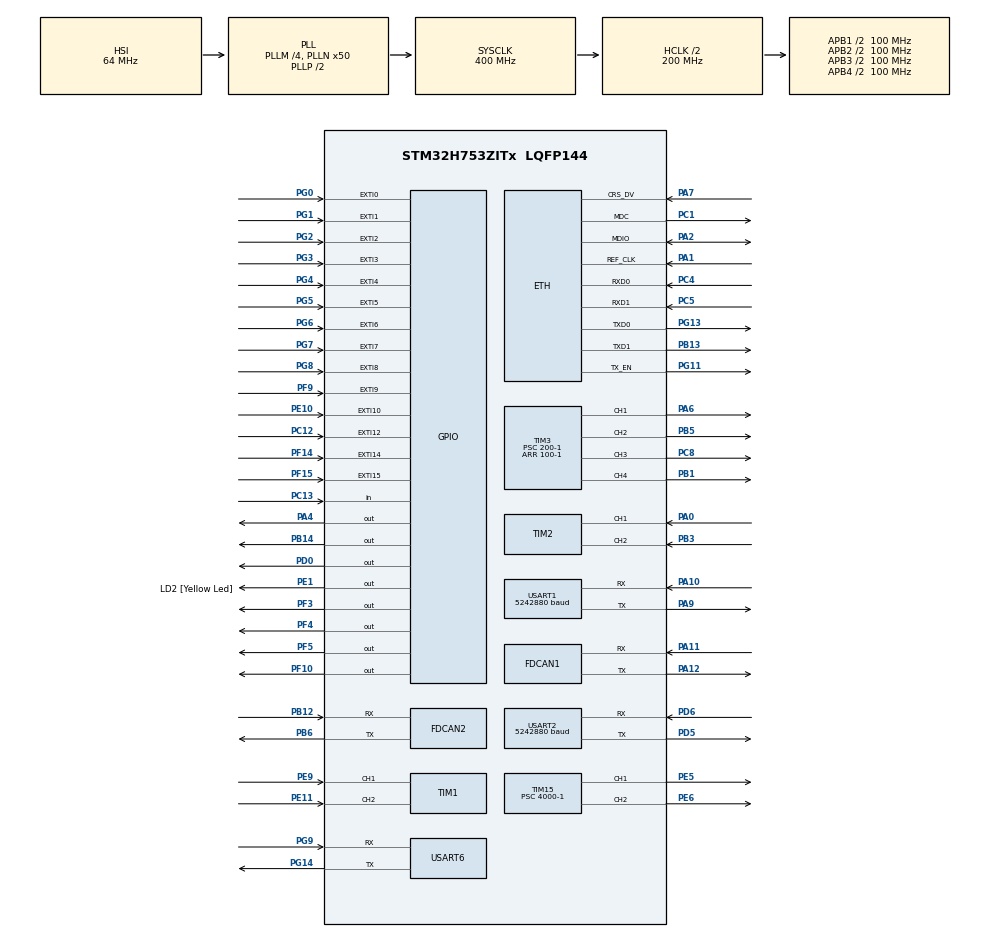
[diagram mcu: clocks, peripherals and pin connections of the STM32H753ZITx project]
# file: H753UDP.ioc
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CORTEX_M7.AccessPermission_S-Cortex_Memory_Protection_Unit_Region1_Settings_S=MPU_REGION_FULL_ACCESS
CORTEX_M7.AccessPermission_S-Cortex_Memory_Protection_Unit_Region2_Settings_S=MPU_REGION_FULL_ACCESS
CORTEX_M7.BaseAddress_S-Cortex_Memory_Protection_Unit_Region1_Settings_S=0x30020000
CORTEX_M7.BaseAddress_S-Cortex_Memory_Protection_Unit_Region2_Settings_S=0x30040000
CORTEX_M7.CPU_DCache=Enabled
CORTEX_M7.CPU_ICache=Enabled
CORTEX_M7.DisableExec_S-Cortex_Memory_Protection_Unit_Region1_Settings_S=MPU_INSTRUCTION_ACCESS_DISABLE
CORTEX_M7.DisableExec_S-Cortex_Memory_Protection_Unit_Region2_Settings_S=MPU_INSTRUCTION_ACCESS_DISABLE
CORTEX_M7.Enable_S-Cortex_Memory_Protection_Unit_Region1_Settings_S=MPU_REGION_ENABLE
CORTEX_M7.Enable_S-Cortex_Memory_Protection_Unit_Region2_Settings_S=MPU_REGION_ENABLE
CORTEX_M7.IsBufferable_S-Cortex_Memory_Protection_Unit_Region2_Settings_S=MPU_ACCESS_BUFFERABLE
CORTEX_M7.IsShareable_S-Cortex_Memory_Protection_Unit_Region2_Settings_S=MPU_ACCESS_SHAREABLE
CORTEX_M7.MPU_Control=MPU_PRIVILEGED_DEFAULT
CORTEX_M7.Size_S-Cortex_Memory_Protection_Unit_Region1_Settings_S=MPU_REGION_SIZE_128KB
CORTEX_M7.Size_S-Cortex_Memory_Protection_Unit_Region2_Settings_S=MPU_REGION_SIZE_512B
CORTEX_M7.TypeExtField_S-Cortex_Memory_Protection_Unit_Region1_Settings_S=MPU_TEX_LEVEL1
CORTEX_M7.default_mode_Activation=1
ETH.MediaInterface=HAL_ETH_RMII_MODE
FDCAN1.CalculateBaudRateNominal=1000000
FDCAN1.CalculateTimeBitNominal=1000
FDCAN1.CalculateTimeQuantumNominal=62.5
FDCAN1.NominalPrescaler=5
FDCAN1.NominalTimeSeg1=13
FDCAN1.NominalTimeSeg2=2
FDCAN1.RxFifo0ElmtsNbr=3
FDCAN1.TxFifoQueueElmtsNbr=3
FDCAN2.CalculateBaudRateNominal=1666666
FDCAN2.CalculateTimeBitNominal=600
FDCAN2.CalculateTimeQuantumNominal=200.0
FREERTOS.Tasks01=defaultTask,0,512,StartDefaultTask,Default,NULL,Dynamic,NULL,NULL
FREERTOS.configUSE_NEWLIB_REENTRANT=1
LWIP.BSP.number=1
LWIP.DEFAULT_THREAD_STACKSIZE=2048
LWIP.GATEWAY_ADDRESS=192.168.011.001
LWIP.IP_ADDRESS=192.168.011.004
LWIP.LWIP_DHCP=0
LWIP.LWIP_RAM_HEAP_POINTER=0x30020000
LWIP.MEM_SIZE=131048
LWIP.NETMASK_ADDRESS=255.255.255.000
LWIP.TCPIP_THREAD_STACKSIZE=2048
LWIP.Version=v2.1.2_Cube
LWIP0.BSP.STBoard=false
LWIP0.BSP.api=BSP_COMPONENT_DRIVER
LWIP0.BSP.component=LAN8742
LWIP0.BSP.instance=LAN8742
LWIP0.BSP.name=Driver_PHY
LWIP0.BSP.semaphore=S_LAN8742
LWIP0.BSP.solution=LAN8742
Mcu.Family=STM32H7
Mcu.Name=STM32H753ZITx
Mcu.Package=LQFP144
NUCLEO-H753ZI.BUTTON=1
NUCLEO-H753ZI.LD1=true
NUCLEO-H753ZI.LD2=true
NUCLEO-H753ZI.LD3=true
NUCLEO-H753ZI.VCP=true
NVIC.ETH_IRQn=true\:5\:0\:true\:false\:true\:true\:true\:true\:true
NVIC.ETH_WKUP_IRQn=true\:5\:0\:true\:false\:true\:true\:true\:true\:true
NVIC.EXTI15_10_IRQn=true\:5\:0\:false\:false\:true\:true\:false\:true\:true
NVIC.FDCAN1_IT0_IRQn=true\:5\:0\:false\:false\:true\:true\:true\:true\:true
NVIC.FDCAN1_IT1_IRQn=true\:5\:0\:false\:false\:true\:true\:true\:true\:true
NVIC.PriorityGroup=NVIC_PRIORITYGROUP_4
NVIC.TIM6_DAC_IRQn=true\:15\:0\:false\:false\:true\:false\:false\:true\:true
NVIC.TimeBase=TIM6_DAC_IRQn
NVIC.TimeBaseIP=TIM6
NVIC.USART1_IRQn=true\:5\:0\:false\:false\:true\:true\:true\:true\:true
NVIC.USART2_IRQn=true\:5\:0\:false\:false\:true\:true\:true\:true\:true
PA0.Signal=S_TIM2_CH1_ETR
PA1.GPIO_Speed=GPIO_SPEED_FREQ_VERY_HIGH
PA1.Mode=RMII
PA1.Signal=ETH_REF_CLK
PA10.Mode=Asynchronous
PA10.Signal=USART1_RX
PA11.Mode=FDCAN_Activate
PA11.Signal=FDCAN1_RX
PA12.Mode=FDCAN_Activate
PA12.Signal=FDCAN1_TX
PA2.GPIO_Speed=GPIO_SPEED_FREQ_VERY_HIGH
PA2.Mode=RMII
PA2.Signal=ETH_MDIO
PA4.Signal=GPIO_Output
PA6.Signal=S_TIM3_CH1
PA7.GPIO_Speed=GPIO_SPEED_FREQ_VERY_HIGH
PA7.Mode=RMII
PA7.Signal=ETH_CRS_DV
PA9.Mode=Asynchronous
PA9.Signal=USART1_TX
PB1.Signal=S_TIM3_CH4
PB12.Mode=FDCAN_Activate
PB12.Signal=FDCAN2_RX
PB13.GPIO_Speed=GPIO_SPEED_FREQ_VERY_HIGH
PB13.Mode=RMII
PB13.Signal=ETH_TXD1
PB14.Signal=GPIO_Output
PB3\ (JTDO/TRACESWO).Signal=S_TIM2_CH2
PB5.Signal=S_TIM3_CH2
PB6.Mode=FDCAN_Activate
PB6.Signal=FDCAN2_TX
PC1.GPIO_Speed=GPIO_SPEED_FREQ_VERY_HIGH
PC1.Mode=RMII
PC1.Signal=ETH_MDC
PC12.Signal=GPXTI12
PC13.Signal=GPIO_Input
PC14-OSC32_IN\ (OSC32_IN).Mode=LSE-External-Oscillator
PC14-OSC32_IN\ (OSC32_IN).Signal=RCC_OSC32_IN
PC15-OSC32_OUT\ (OSC32_OUT).Mode=LSE-External-Oscillator
PC15-OSC32_OUT\ (OSC32_OUT).Signal=RCC_OSC32_OUT
PC4.GPIO_Speed=GPIO_SPEED_FREQ_VERY_HIGH
PC4.Mode=RMII
PC4.Signal=ETH_RXD0
PC5.GPIO_Speed=GPIO_SPEED_FREQ_VERY_HIGH
PC5.Mode=RMII
PC5.Signal=ETH_RXD1
PC8.Signal=S_TIM3_CH3
PD0.Signal=GPIO_Output
PD5.Mode=Asynchronous
PD5.Signal=USART2_TX
PD6.Mode=Asynchronous
PD6.Signal=USART2_RX
PD8.Signal=USART3_TX
PD9.Signal=USART3_RX
PE1.GPIO_Label=LD2 [Yellow Led]
PE1.Signal=GPIO_Output
PE10.Signal=GPXTI10
PE11.Signal=S_TIM1_CH2
PE5.Signal=S_TIM15_CH1
PE6.Signal=S_TIM15_CH2
PE9.Signal=S_TIM1_CH1
PF10.Signal=GPIO_Output
PF14.Signal=GPXTI14
PF15.Signal=GPXTI15
PF3.Signal=GPIO_Output
PF4.Signal=GPIO_Output
PF5.Signal=GPIO_Output
PF9.Signal=GPXTI9
PG0.Signal=GPXTI0
PG1.Signal=GPXTI1
PG11.GPIO_Speed=GPIO_SPEED_FREQ_VERY_HIGH
PG11.Mode=RMII
PG11.Signal=ETH_TX_EN
PG13.GPIO_Speed=GPIO_SPEED_FREQ_VERY_HIGH
PG13.Mode=RMII
PG13.Signal=ETH_TXD0
PG14.Mode=Asynchronous
PG14.Signal=USART6_TX
PG2.Signal=GPXTI2
PG3.Signal=GPXTI3
PG4.Signal=GPXTI4
PG5.Signal=GPXTI5
PG6.Signal=GPXTI6
PG7.Signal=GPXTI7
PG8.Signal=GPXTI8
PG9.Mode=Asynchronous
PG9.Signal=USART6_RX
PH0-OSC_IN\ (PH0).Mode=HSE-External-Clock-Source
PH0-OSC_IN\ (PH0).Signal=RCC_OSC_IN
PH1-OSC_OUT\ (PH1).Signal=RCC_OSC_OUT
ProjectManager.HeapSize=0x200
ProjectManager.StackSize=0x400
ProjectManager.TargetToolchain=CMake
RCC.ADCFreq_Value=129000000
RCC.APB1Freq_Value=100000000
RCC.APB2Freq_Value=100000000
RCC.APB3Freq_Value=100000000
RCC.APB4Freq_Value=100000000
RCC.CortexFreq_Value=400000000
RCC.D1PPRE=RCC_APB3_DIV2
RCC.D2PPRE1=RCC_APB1_DIV2
RCC.D2PPRE2=RCC_APB2_DIV2
RCC.D3PPRE=RCC_APB4_DIV2
RCC.DIVM1=4
RCC.DIVN1=50
RCC.DIVQ1=10
RCC.HCLKFreq_Value=200000000
RCC.HPRE=RCC_HCLK_DIV2
RCC.HSE_VALUE=8000000
RCC.SYSCLKFreq_VALUE=400000000
RCC.SYSCLKSource=RCC_SYSCLKSOURCE_PLLCLK
RCC.USBFreq_Value=80000000
SH.S_TIM15_CH1.0=TIM15_CH1,PWM Generation1 CH1
SH.S_TIM15_CH2.0=TIM15_CH2,PWM Generation2 CH2
SH.S_TIM1_CH1.0=TIM1_CH1,Encoder_Interface
SH.S_TIM1_CH2.0=TIM1_CH2,Encoder_Interface
SH.S_TIM2_CH1_ETR.0=TIM2_CH1,Encoder_Interface
SH.S_TIM2_CH2.0=TIM2_CH2,Encoder_Interface
SH.S_TIM3_CH1.0=TIM3_CH1,PWM Generation1 CH1
SH.S_TIM3_CH2.0=TIM3_CH2,PWM Generation2 CH2
SH.S_TIM3_CH3.0=TIM3_CH3,PWM Generation3 CH3
SH.S_TIM3_CH4.0=TIM3_CH4,PWM Generation4 CH4
TIM15.Channel-PWM\ Generation1\ CH1=TIM_CHANNEL_1
TIM15.Channel-PWM\ Generation2\ CH2=TIM_CHANNEL_2
TIM15.Period=1000-1
TIM15.Prescaler=4000-1
TIM3.Channel-PWM\ Generation1\ CH1=TIM_CHANNEL_1
TIM3.Channel-PWM\ Generation2\ CH2=TIM_CHANNEL_2
TIM3.Channel-PWM\ Generation3\ CH3=TIM_CHANNEL_3
TIM3.Channel-PWM\ Generation4\ CH4=TIM_CHANNEL_4
TIM3.Period=100-1
TIM3.Prescaler=200-1
USART1.BaudRate=5242880
USART1.VirtualMode-Asynchronous=VM_ASYNC
USART2.BaudRate=5242880
USART2.VirtualMode-Asynchronous=VM_ASYNC
USART6.VirtualMode-Asynchronous=VM_ASYNC
VP_FREERTOS_VS_CMSIS_V1.Mode=CMSIS_V1
VP_LWIP_VS_Enabled.Mode=Enabled
VP_MEMORYMAP_VS_MEMORYMAP.Mode=CurAppReg
VP_NUCLEO-H753ZI_VS_BSP_COMMON.Mode=COMMON
VP_SYS_VS_tim6.Mode=TIM6
board=NUCLEO-H753ZI

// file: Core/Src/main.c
/* USER CODE BEGIN Header */
/**
  ******************************************************************************
  * @file           : main.c
  * @brief          : Main program body
  ******************************************************************************
  * @attention
  *
  * Copyright (c) 2025 STMicroelectronics.
  * All rights reserved.
  *
  * This software is licensed under terms that can be found in the LICENSE file
  * in the root directory of this software component.
  * If no LICENSE file comes with this software, it is provided AS-IS.
  *
  ******************************************************************************
  */
/* USER CODE END Header */
#include "main.h"
#include "cmsis_os.h"
#include "fdcan.h"
#include "lwip.h"
#include "memorymap.h"
#include "tim.h"
#include "usart.h"
#include "gpio.h"

COM_InitTypeDef BspCOMInit;

void SystemClock_Config(void);
static void MPU_Config(void);
void MX_FREERTOS_Init(void);

int main(void)
{

  /* MPU Configuration--------------------------------------------------------*/
  MPU_Config();

  /* Enable the CPU Cache */

  /* Enable I-Cache---------------------------------------------------------*/
  SCB_EnableICache();

  /* Enable D-Cache---------------------------------------------------------*/
  SCB_EnableDCache();

  /* MCU Configuration--------------------------------------------------------*/

  /* Reset of all peripherals, Initializes the Flash interface and the Systick. */
  HAL_Init();

  /* Configure the system clock */
  SystemClock_Config();

  /* Initialize all configured peripherals */
  MX_GPIO_Init();
  MX_FDCAN1_Init();
  MX_FDCAN2_Init();
  MX_USART1_UART_Init();
  MX_USART2_UART_Init();
  MX_USART6_UART_Init();
  MX_TIM1_Init();
  MX_TIM2_Init();
  MX_TIM3_Init();
  MX_TIM15_Init();
  /* USER CODE BEGIN 2 */

  /*
   * HardFault(UNALIGNED)対策の最終手段:
   * Cortex-M7コア自体に、アライメントされていないメモリアクセスを
   * トラップ(フォルト)させず、ハードウェアで処理させるように設定する。
   */
  SCB->CCR &= ~(SCB_CCR_UNALIGN_TRP_Msk);

  /* USER CODE END 2 */

  /* Call init function for freertos objects (in cmsis_os2.c) */
  MX_FREERTOS_Init();

  /* Initialize leds */
  BSP_LED_Init(LED_GREEN);
  BSP_LED_Init(LED_BLUE);
  BSP_LED_Init(LED_RED);

  /* Initialize USER push-button, will be used to trigger an interrupt each time it's pressed.*/
  BSP_PB_Init(BUTTON_USER, BUTTON_MODE_EXTI);

  /* Initialize COM1 port (115200, 8 bits (7-bit data + 1 stop bit), no parity */
  BspCOMInit.BaudRate   = 115200;
  BspCOMInit.WordLength = COM_WORDLENGTH_8B;
  BspCOMInit.StopBits   = COM_STOPBITS_1;
  BspCOMInit.Parity     = COM_PARITY_NONE;
  BspCOMInit.HwFlowCtl  = COM_HWCONTROL_NONE;
  if (BSP_COM_Init(COM1, &BspCOMInit) != BSP_ERROR_NONE)
  {
    Error_Handler();
  }

  /* Start scheduler */
  osKernelStart();

  /* We should never get here as control is now taken by the scheduler */

  /* Infinite loop */
  while (1)
  {

  }
}

void SystemClock_Config(void)
{
  RCC_OscInitTypeDef RCC_OscInitStruct = {0};
  RCC_ClkInitTypeDef RCC_ClkInitStruct = {0};

  /** Supply configuration update enable
  */
  HAL_PWREx_ConfigSupply(PWR_LDO_SUPPLY);

  /** Configure the main internal regulator output voltage
  */
  __HAL_PWR_VOLTAGESCALING_CONFIG(PWR_REGULATOR_VOLTAGE_SCALE1);

  while(!__HAL_PWR_GET_FLAG(PWR_FLAG_VOSRDY)) {}

  /** Initializes the RCC Oscillators according to the specified parameters
  * in the RCC_OscInitTypeDef structure.
  */
  RCC_OscInitStruct.OscillatorType = RCC_OSCILLATORTYPE_HSI;
  RCC_OscInitStruct.HSIState = RCC_HSI_DIV1;
  RCC_OscInitStruct.HSICalibrationValue = RCC_HSICALIBRATION_DEFAULT;
  RCC_OscInitStruct.PLL.PLLState = RCC_PLL_ON;
  RCC_OscInitStruct.PLL.PLLSource = RCC_PLLSOURCE_HSI;
  RCC_OscInitStruct.PLL.PLLM = 4;
  RCC_OscInitStruct.PLL.PLLN = 50;
  RCC_OscInitStruct.PLL.PLLP = 2;
  RCC_OscInitStruct.PLL.PLLQ = 10;
  RCC_OscInitStruct.PLL.PLLR = 2;
  RCC_OscInitStruct.PLL.PLLRGE = RCC_PLL1VCIRANGE_3;
  RCC_OscInitStruct.PLL.PLLVCOSEL = RCC_PLL1VCOWIDE;
  RCC_OscInitStruct.PLL.PLLFRACN = 0;
  if (HAL_RCC_OscConfig(&RCC_OscInitStruct) != HAL_OK)
  {
    Error_Handler();
  }

  /** Initializes the CPU, AHB and APB buses clocks
  */
  RCC_ClkInitStruct.ClockType = RCC_CLOCKTYPE_HCLK|RCC_CLOCKTYPE_SYSCLK
                              |RCC_CLOCKTYPE_PCLK1|RCC_CLOCKTYPE_PCLK2
                              |RCC_CLOCKTYPE_D3PCLK1|RCC_CLOCKTYPE_D1PCLK1;
  RCC_ClkInitStruct.SYSCLKSource = RCC_SYSCLKSOURCE_PLLCLK;
  RCC_ClkInitStruct.SYSCLKDivider = RCC_SYSCLK_DIV1;
  RCC_ClkInitStruct.AHBCLKDivider = RCC_HCLK_DIV2;
  RCC_ClkInitStruct.APB3CLKDivider = RCC_APB3_DIV2;
  RCC_ClkInitStruct.APB1CLKDivider = RCC_APB1_DIV2;
  RCC_ClkInitStruct.APB2CLKDivider = RCC_APB2_DIV2;
  RCC_ClkInitStruct.APB4CLKDivider = RCC_APB4_DIV2;

  if (HAL_RCC_ClockConfig(&RCC_ClkInitStruct, FLASH_LATENCY_2) != HAL_OK)
  {
    Error_Handler();
  }
}

 /* MPU Configuration */

void MPU_Config(void)
{
  MPU_Region_InitTypeDef MPU_InitStruct = {0};

  /* Disables the MPU */
  HAL_MPU_Disable();

  /** Initializes and configures the Region and the memory to be protected
  */
  MPU_InitStruct.Enable = MPU_REGION_ENABLE;
  MPU_InitStruct.Number = MPU_REGION_NUMBER0;
  MPU_InitStruct.BaseAddress = 0x0;
  MPU_InitStruct.Size = MPU_REGION_SIZE_4GB;
  MPU_InitStruct.SubRegionDisable = 0x87;
  MPU_InitStruct.TypeExtField = MPU_TEX_LEVEL0;
  MPU_InitStruct.AccessPermission = MPU_REGION_NO_ACCESS;
  MPU_InitStruct.DisableExec = MPU_INSTRUCTION_ACCESS_DISABLE;
  MPU_InitStruct.IsShareable = MPU_ACCESS_SHAREABLE;
  MPU_InitStruct.IsCacheable = MPU_ACCESS_NOT_CACHEABLE;
  MPU_InitStruct.IsBufferable = MPU_ACCESS_NOT_BUFFERABLE;

  HAL_MPU_ConfigRegion(&MPU_InitStruct);

  /** Initializes and configures the Region and the memory to be protected
  */
  MPU_InitStruct.Number = MPU_REGION_NUMBER1;
  MPU_InitStruct.BaseAddress = 0x30020000;
  MPU_InitStruct.Size = MPU_REGION_SIZE_128KB;
  MPU_InitStruct.SubRegionDisable = 0x0;
  MPU_InitStruct.TypeExtField = MPU_TEX_LEVEL1;
  MPU_InitStruct.AccessPermission = MPU_REGION_FULL_ACCESS;
  MPU_InitStruct.IsShareable = MPU_ACCESS_NOT_SHAREABLE;

  HAL_MPU_ConfigRegion(&MPU_InitStruct);

  /** Initializes and configures the Region and the memory to be protected
  */
  MPU_InitStruct.Number = MPU_REGION_NUMBER2;
  MPU_InitStruct.BaseAddress = 0x30040000;
  MPU_InitStruct.Size = MPU_REGION_SIZE_512B;
  MPU_InitStruct.TypeExtField = MPU_TEX_LEVEL0;
  MPU_InitStruct.IsShareable = MPU_ACCESS_SHAREABLE;
  MPU_InitStruct.IsBufferable = MPU_ACCESS_BUFFERABLE;

  HAL_MPU_ConfigRegion(&MPU_InitStruct);
  /* Enables the MPU */
  HAL_MPU_Enable(MPU_PRIVILEGED_DEFAULT);

}

void HAL_TIM_PeriodElapsedCallback(TIM_HandleTypeDef *htim)
{
  if (htim->Instance == TIM6)
  {
    HAL_IncTick();
  }
}

void Error_Handler(void)
{
  __disable_irq();
  while (1)
  {
  }
}

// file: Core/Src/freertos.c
/* USER CODE BEGIN Header */
/**
  ******************************************************************************
  * File Name          : freertos.c
  * Description        : Code for freertos applications
  ******************************************************************************
  * @attention
  *
  * Copyright (c) 2025 STMicroelectronics.
  * All rights reserved.
  *
  * This software is licensed under terms that can be found in the LICENSE file
  * in the root directory of this software component.
  * If no LICENSE file comes with this software, it is provided AS-IS.
  *
  ******************************************************************************
  */
/* USER CODE END Header */

#include "FreeRTOS.h"
#include "task.h"
#include "main.h"
#include "cmsis_os.h"

/* USER CODE BEGIN Includes */
#include "lwip/udp.h"
#include <string.h>
#include <stdio.h>
#include "stm32h7xx_nucleo.h"
#include "../../App/comm/mavlink_udp.h"
#include "../../App/hal/hardware_manager.h"
#include "../../App/motors/robomaster_controller.h"
#include "../../App/motors/rs485_controller.h"
#include "../../App/config/parameter_manager.h"

/* Generated MAVLink HAL code - replaces motor_registry */
#include "mavlink_generated_config.h"
#include "fdcan.h"
#include "usart.h"

extern FDCAN_HandleTypeDef hfdcan1;
extern UART_HandleTypeDef huart1;
extern UART_HandleTypeDef huart2;
/* USER CODE END Includes */

/* USER CODE BEGIN Variables */

// MAVLink UDP handler
static mavlink_udp_t mavlink_handler;

// Motor system initialized flag
static bool motors_initialized = false;

/* USER CODE END Variables */
osThreadId defaultTaskHandle;

/* USER CODE BEGIN FunctionPrototypes */

/**
  * @brief  MAVLink message handler callback
  * @param  msg: Received MAVLink message
  * @param  handler: MAVLink UDP handler instance
  * @retval None
  */
void mavlink_message_handler(const mavlink_message_t *msg, mavlink_udp_t *handler)
{
  // Use generated MAVLink handler for motor control messages
  // (handles RC_CHANNELS_OVERRIDE, MOTOR_COMMAND, MANUAL_CONTROL, etc.)
  mavlink_gen_handle_message(msg, MAVLINK_COMM_0);

  // Keep original parameter handling for backward compatibility
  // TODO: Migrate to generated parameter system
  switch (msg->msgid) {

    case MAVLINK_MSG_ID_PARAM_REQUEST_LIST:
    {
      // Handle parameter request list - send all parameters
      uint16_t param_count = param_manager_get_count();

      for (uint16_t i = 0; i < param_count; i++) {
        const param_entry_t* param = param_manager_get_by_index(i);
        if (param) {
          mavlink_message_t response;
          mavlink_msg_param_value_pack(
            handler->config.system_id,
            handler->config.component_id,
            &response,
            param->name,
            *(param->value_ptr),
            MAV_PARAM_TYPE_REAL32,
            param_count,
            i
          );
          mavlink_udp_send_message(handler, &response);

          // Small delay to avoid flooding the network
          osDelay(5);
        }
      }
      break;
    }

    case MAVLINK_MSG_ID_PARAM_REQUEST_READ:
    {
      // Handle parameter request read - send specific parameter
      mavlink_param_request_read_t req;
      mavlink_msg_param_request_read_decode(msg, &req);

      const param_entry_t* param = NULL;

      // Check if request is by index or by name
      if (req.param_index >= 0) {
        param = param_manager_get_by_index((uint16_t)req.param_index);
      } else {
        // Request by name
        char param_name[17] = {0};
        strncpy(param_name, req.param_id, 16);
        param = param_manager_get_by_name(param_name);
      }

      if (param) {
        mavlink_message_t response;
        uint16_t param_count = param_manager_get_count();
        int16_t param_index = param_manager_get_index_by_name(param->name);

        mavlink_msg_param_value_pack(
          handler->config.system_id,
          handler->config.component_id,
          &response,
          param->name,
          *(param->value_ptr),
          MAV_PARAM_TYPE_REAL32,
          param_count,
          param_index
        );
        mavlink_udp_send_message(handler, &response);
      }
      break;
    }

    case MAVLINK_MSG_ID_PARAM_SET:
    {
      // Handle parameter set - update parameter value
      mavlink_param_set_t set_req;
      mavlink_msg_param_set_decode(msg, &set_req);

      char param_name[17] = {0};
      strncpy(param_name, set_req.param_id, 16);

      // Attempt to set parameter
      error_code_t err = param_manager_set(param_name, set_req.param_value);

      // Always send back the current value (MAVLink protocol requirement)
      const param_entry_t* param = param_manager_get_by_name(param_name);
      if (param) {
        mavlink_message_t response;
        uint16_t param_count = param_manager_get_count();
        int16_t param_index = param_manager_get_index_by_name(param->name);

        mavlink_msg_param_value_pack(
          handler->config.system_id,
          handler->config.component_id,
          &response,
          param->name,
          *(param->value_ptr),  // Send actual current value (may be clamped)
          MAV_PARAM_TYPE_REAL32,
          param_count,
          param_index
        );
        mavlink_udp_send_message(handler, &response);
      }

      (void)err;  // Suppress unused warning
      break;
    }

    default:
      // Unknown message, ignore or log
      break;
  }
}

/**
  * @brief  FDCAN RX FIFO0 callback - processes incoming CAN messages from RoboMaster motors
  * @param  hfdcan: FDCAN handle
  * @param  RxFifo0ITs: Interrupt flags
  * @retval None
  */
void HAL_FDCAN_RxFifo0Callback(FDCAN_HandleTypeDef *hfdcan, uint32_t RxFifo0ITs)
{
  if ((RxFifo0ITs & FDCAN_IT_RX_FIFO0_NEW_MESSAGE) != 0)
  {
    FDCAN_RxHeaderTypeDef rx_header;
    uint8_t rx_data[8];

    // Retrieve message from RX FIFO0
    if (HAL_FDCAN_GetRxMessage(hfdcan, FDCAN_RX_FIFO0, &rx_header, rx_data) == HAL_OK)
    {
      // Route CAN message to appropriate RoboMaster motor controller
      // We need to find which motor matches this CAN ID
      if (motors_initialized)
      {
        // Search through all motors to find matching RoboMaster controller
        for (uint8_t motor_id = 20; motor_id < 30; motor_id++)  // RoboMaster IDs: 20-29
        {
          motor_controller_t* controller = mavlink_gen_get_controller_by_id(motor_id);
          if (controller && controller->type == MOTOR_TYPE_ROBOMASTER)
          {
            // Pass message to RoboMaster controller for processing
            robomaster_process_can_message(controller, rx_header.Identifier, rx_data, 8);
          }
        }
      }
    }
  }
}

/* USER CODE END FunctionPrototypes */

void StartDefaultTask(void const * argument);

extern void MX_LWIP_Init(void);
void MX_FREERTOS_Init(void); /* (MISRA C 2004 rule 8.1) */

/* GetIdleTaskMemory prototype (linked to static allocation support) */
void vApplicationGetIdleTaskMemory( StaticTask_t **ppxIdleTaskTCBBuffer, StackType_t **ppxIdleTaskStackBuffer, uint32_t *pulIdleTaskStackSize );

/* USER CODE BEGIN GET_IDLE_TASK_MEMORY */
static StaticTask_t xIdleTaskTCBBuffer;
static StackType_t xIdleStack[configMINIMAL_STACK_SIZE];

void vApplicationGetIdleTaskMemory( StaticTask_t **ppxIdleTaskTCBBuffer, StackType_t **ppxIdleTaskStackBuffer, uint32_t *pulIdleTaskStackSize )
{
  *ppxIdleTaskTCBBuffer = &xIdleTaskTCBBuffer;
  *ppxIdleTaskStackBuffer = &xIdleStack[0];
  *pulIdleTaskStackSize = configMINIMAL_STACK_SIZE;
  /* place for user code */
}
/* USER CODE END GET_IDLE_TASK_MEMORY */

void MX_FREERTOS_Init(void) {

  /* Create the thread(s) */
  /* definition and creation of defaultTask */
  osThreadDef(defaultTask, StartDefaultTask, osPriorityNormal, 0, 512);
  defaultTaskHandle = osThreadCreate(osThread(defaultTask), NULL);

}

void StartDefaultTask(void const * argument)
{
  /* init code for LWIP */
  MX_LWIP_Init();
  /* USER CODE BEGIN StartDefaultTask */
  // Initialize BSP LEDs
  BSP_LED_Init(LED1);  // Green LED
  BSP_LED_Init(LED2);  // Blue LED
  BSP_LED_Init(LED3);  // Red LED

  // LED startup sequence - 3 blinks on LED1 (Green)
  for (int i = 0; i < 3; i++) {
    BSP_LED_On(LED1);
    osDelay(100);
    BSP_LED_Off(LED1);
    osDelay(100);
  }

  // Configure MAVLink UDP
  mavlink_udp_config_t config;
  config.system_id = 1;
  config.component_id = MAV_COMP_ID_ONBOARD_COMPUTER;
  config.local_port = 14550;  // Standard MAVLink port
  config.remote_port = 14550; // Standard MAVLink port
  IP4_ADDR(&config.remote_addr, 192, 168, 11, 2); // Remote PC IP address

  // Initialize MAVLink UDP handler
  err_t err = mavlink_udp_init(&mavlink_handler, &config, mavlink_message_handler);

  if (err != ERR_OK) {
    // Initialization failed, blink all LEDs rapidly to indicate error
    while(1) {
      BSP_LED_On(LED1);
      BSP_LED_On(LED2);
      BSP_LED_On(LED3);
      osDelay(100);
      BSP_LED_Off(LED1);
      BSP_LED_Off(LED2);
      BSP_LED_Off(LED3);
      osDelay(100);
    }
  }

  // Initialize hardware manager
  error_code_t hw_err = hw_manager_init();
  if (hw_err != ERROR_OK) {
    // HW manager init failed - blink RED LED rapidly
    while(1) {
      BSP_LED_On(LED3);
      osDelay(50);
      BSP_LED_Off(LED3);
      osDelay(50);
    }
  }

  // Register and start FDCAN1 for RoboMaster motors
  hw_err = hw_can_register(&hfdcan1);
  if (hw_err != ERROR_OK) {
    // CAN registration failed - blink RED and GREEN alternately
    while(1) {
      BSP_LED_On(LED3);
      osDelay(75);
      BSP_LED_Off(LED3);
      BSP_LED_On(LED1);
      osDelay(75);
      BSP_LED_Off(LED1);
    }
  }

  // Configure RoboMaster CAN filter (accept 0x201-0x20B for both M3508 and GM6020)
  FDCAN_FilterTypeDef sFilterConfig;
  sFilterConfig.IdType = FDCAN_STANDARD_ID;
  sFilterConfig.FilterIndex = 0;
  sFilterConfig.FilterType = FDCAN_FILTER_RANGE;
  sFilterConfig.FilterConfig = FDCAN_FILTER_TO_RXFIFO0;
  sFilterConfig.FilterID1 = 0x201;  // M3508 motor 1 / GM6020 range start
  sFilterConfig.FilterID2 = 0x20B;  // GM6020 motor 7
  if (HAL_FDCAN_ConfigFilter(&hfdcan1, &sFilterConfig) != HAL_OK) {
    Error_Handler();
  }

  // Start FDCAN peripheral
  if (HAL_FDCAN_Start(&hfdcan1) != HAL_OK) {
    Error_Handler();
  }

  // Enable FDCAN RX FIFO0 interrupt to receive motor feedback
  if (HAL_FDCAN_ActivateNotification(&hfdcan1, FDCAN_IT_RX_FIFO0_NEW_MESSAGE, 0) != HAL_OK) {
    Error_Handler();
  }

  // Register UART handles for RS485 motors
  hw_err = hw_uart_register(1, &huart1);  // USART1
  if (hw_err != ERROR_OK) {
    // UART1 registration failed - blink BLUE LED
    while(1) {
      BSP_LED_On(LED2);
      osDelay(60);
      BSP_LED_Off(LED2);
      osDelay(60);
    }
  }

  hw_err = hw_uart_register(2, &huart2);  // USART2
  if (hw_err != ERROR_OK) {
    // UART2 registration failed - blink BLUE and RED LEDs
    while(1) {
      BSP_LED_On(LED2);
      BSP_LED_On(LED3);
      osDelay(60);
      BSP_LED_Off(LED2);
      BSP_LED_Off(LED3);
      osDelay(60);
    }
  }

  // Initialize all devices from generated configuration
  int init_result = mavlink_gen_init_all_devices();
  if (init_result != 0) {
    // Device initialization failed - slow blink RED LED
    while(1) {
      BSP_LED_On(LED3);
      osDelay(200);
      BSP_LED_Off(LED3);
      osDelay(200);
    }
  }

  // Motor system initialized successfully
  motors_initialized = true;

  // Initialize parameter manager (for PID tuning via MAVLink)
  hw_err = param_manager_init();
  if (hw_err == ERROR_OK && motors_initialized) {
    // Register all motor PID parameters
    hw_err = param_manager_register_motor_params();

    // Try to load saved parameters from Flash
    // If no valid data exists, defaults will be used
    param_manager_load_from_flash();
  }

  // Variables for timing
  uint32_t last_heartbeat_time = 0;
  uint32_t last_motor_update_time = 0;
  uint32_t last_motor_status_time = 0;
  const uint32_t heartbeat_interval = 1000; // 1 Hz heartbeat
  const uint32_t motor_update_interval = 10; // 100 Hz motor update
  const uint32_t motor_status_interval = 100; // 10 Hz motor status broadcast

  /* Infinite loop */
  for(;;)
  {
    uint32_t current_time = HAL_GetTick();

    // Update motors at 100 Hz
    if (motors_initialized && (current_time - last_motor_update_time >= motor_update_interval)) {
      mavlink_gen_update_all_devices();
      last_motor_update_time = current_time;
    }

    // Send heartbeat at 1 Hz
    if (current_time - last_heartbeat_time >= heartbeat_interval) {
      mavlink_udp_send_heartbeat(&mavlink_handler,
                                  MAV_TYPE_ONBOARD_CONTROLLER,
                                  MAV_AUTOPILOT_INVALID,
                                  MAV_MODE_FLAG_CUSTOM_MODE_ENABLED,
                                  motors_initialized ? MAV_STATE_ACTIVE : MAV_STATE_STANDBY);
      last_heartbeat_time = current_time;

      // Toggle GREEN LED to indicate heartbeat sent
      BSP_LED_Toggle(LED1);
    }

    // Broadcast motor status at 10 Hz (for ROS2 visualization)
    if (motors_initialized && (current_time - last_motor_status_time >= motor_status_interval)) {
      // Send status for all active RoboMaster motors (IDs 20-29)
      for (uint8_t motor_id = 20; motor_id < 30; motor_id++) {
        motor_controller_t* controller = mavlink_gen_get_controller_by_id(motor_id);
        if (controller && controller->type == MOTOR_TYPE_ROBOMASTER) {
          motor_state_t state = motor_get_state(controller);

          // Send ROBOMASTER_MOTOR_STATUS message
          mavlink_message_t msg;
          mavlink_msg_robomaster_motor_status_pack(
            mavlink_handler.config.system_id,
            mavlink_handler.config.component_id,
            &msg,
            motor_id,                          // motor_id
            0,                                 // control_mode (0=position, 1=velocity, 2=current)
            (uint8_t)state.status,             // status
            state.current_position,            // current_position_rad
            state.current_velocity,            // current_speed_rad_s
            0.0f,                              // current_duty_cycle
            0.0f,                              // position_error_rad
            current_time                       // timestamp_ms
          );
          mavlink_udp_send_message(&mavlink_handler, &msg);
        }
      }

      // Send status for all active DC motors (IDs 10-15)
      for (uint8_t motor_id = 10; motor_id < 16; motor_id++) {
        motor_controller_t* controller = mavlink_gen_get_controller_by_id(motor_id);
        if (controller && controller->type == MOTOR_TYPE_DC) {
          motor_state_t state = motor_get_state(controller);

          // Send DC_MOTOR_STATUS message
          mavlink_message_t msg;
          mavlink_msg_dc_motor_status_pack(
            mavlink_handler.config.system_id,
            mavlink_handler.config.component_id,
            &msg,
            motor_id,                                    // motor_id
            1,                                           // control_mode (0=position, 1=velocity, 2=duty_cycle)
            (uint8_t)state.status,                       // status
            state.current_position,                      // position_rad
            state.current_velocity,                      // speed_rad_s
            0.0f,                                        // duty_cycle (not applicable for DC motor)
            (state.target_position - state.current_position), // position_error_rad
            state.target_velocity,                       // target_value
            current_time                                 // timestamp_ms
          );
          mavlink_udp_send_message(&mavlink_handler, &msg);
        }
      }

      // Send status for all active Servo motors (IDs 1-9)
      // Collect all servo positions and send as SERVO_OUTPUT_RAW
      uint16_t servo_raw[16] = {0}; // MAVLink SERVO_OUTPUT_RAW supports up to 16 servos
      bool has_servos = false;

      for (uint8_t motor_id = 1; motor_id < 10; motor_id++) {
        motor_controller_t* controller = mavlink_gen_get_controller_by_id(motor_id);
        if (controller && controller->type == MOTOR_TYPE_SERVO) {
          motor_state_t state = motor_get_state(controller);
          has_servos = true;

          // Map angle (radians) to PWM (1000-2000 us)
          // Assuming -π/2 to +π/2 range maps to 1000-2000 us
          float angle_normalized = (state.current_position + 1.57079632f) / 3.14159265f; // 0.0 to 1.0
          servo_raw[motor_id - 1] = (uint16_t)(1000 + angle_normalized * 1000.0f);
        }
      }

      // Send SERVO_OUTPUT_RAW if any servos are active
      if (has_servos) {
        mavlink_message_t msg;
        mavlink_msg_servo_output_raw_pack(
          mavlink_handler.config.system_id,
          mavlink_handler.config.component_id,
          &msg,
          current_time * 1000,  // time_usec (convert ms to us)
          0,                    // port (servo port 0)
          servo_raw[0],  servo_raw[1],  servo_raw[2],  servo_raw[3],
          servo_raw[4],  servo_raw[5],  servo_raw[6],  servo_raw[7],
          servo_raw[8],  servo_raw[9],  servo_raw[10], servo_raw[11],
          servo_raw[12], servo_raw[13], servo_raw[14], servo_raw[15]
        );
        mavlink_udp_send_message(&mavlink_handler, &msg);
      }

      // Send status for all active RS485 motors (IDs 30-49)
      for (uint8_t motor_id = 30; motor_id < 50; motor_id++) {
        motor_controller_t* controller = mavlink_gen_get_controller_by_id(motor_id);
        if (controller && controller->type == MOTOR_TYPE_RS485) {
          motor_state_t state = motor_get_state(controller);

          // Extract RS485-specific information from private data
          rs485_private_t* rs485_data = (rs485_private_t*)controller->private_data;
          uint8_t device_id = rs485_data->config.rs485_device_id;
          uint8_t motor_index = rs485_data->motor_index;
          uint8_t control_mode = (rs485_data->config.control_mode == RS485_MODE_VELOCITY) ? 1 : 0;

          // Send RS485_MOTOR_STATUS message (custom message ID 12005)
          mavlink_message_t msg;
          mavlink_msg_rs485_motor_status_pack(
            mavlink_handler.config.system_id,
            mavlink_handler.config.component_id,
            &msg,
            motor_id,                                    // motor_id
            device_id,                                   // device_id (DIP switch)
            motor_index,                                 // motor_index (0-2)
            control_mode,                                // control_mode (0=position, 1=velocity)
            (uint8_t)state.status,                       // status
            0,                                           // error_code (future: from RS485 protocol)
            state.current_position,                      // current_position_rotations
            state.current_velocity,                      // current_velocity_rps
            state.target_velocity,                       // target_velocity_rps
            rs485_data->config.max_acceleration_rps2,    // acceleration_rps2
            current_time                                 // timestamp_ms
          );
          mavlink_udp_send_message(&mavlink_handler, &msg);
        }
      }

      last_motor_status_time = current_time;
    }

    // Process other tasks here...

    // Small delay to prevent busy-waiting
    osDelay(10);
  }
  /* USER CODE END StartDefaultTask */
}
